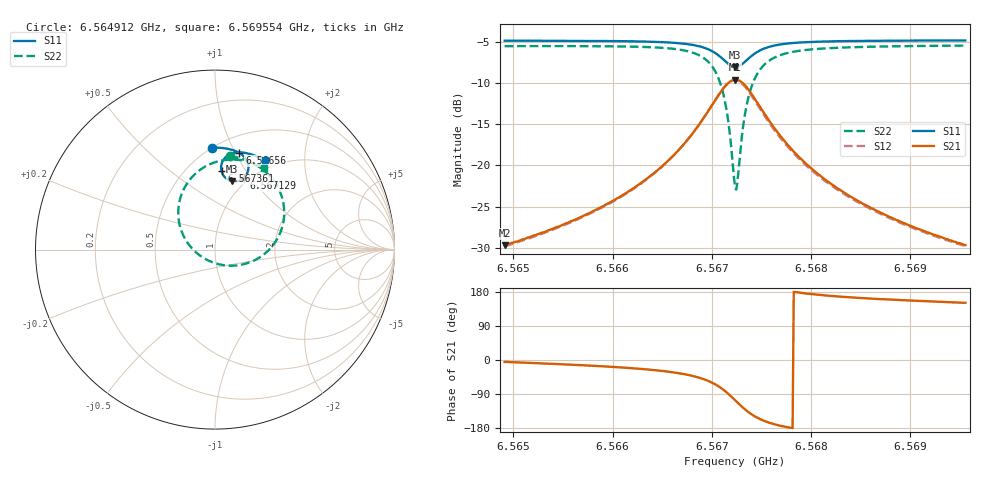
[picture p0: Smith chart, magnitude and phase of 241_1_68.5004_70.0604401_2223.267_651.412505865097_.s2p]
#  HZ  S  RI  R  50.00
! Rohde & Schwarz Vector Network Analyzer
! Rohde-Schwarz,ZNB20-2Port,1311601062101988,3.16
! Created: UTC 3/20/2024, 5:14:33 PM
! freq[Hz]  re:S11  im:S11  re:S21  im:S21  re:S12  im:S12  re:S22  im:S22
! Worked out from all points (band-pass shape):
!   401 points, 6.564912 GHz to 6.569554 GHz, reference 50 ohm
!   highest |S21| = -9.63 dB at 6.567233 GHz (marker M1); lowest = -29.7 dB at 6.564912 GHz (marker M2)
!   |S21| within 3 dB of the highest: 6.567007 GHz to 6.567469 GHz (461.9 kHz wide, 0.00703 % of centre)
!   lowest |S11| = -8.1 dB at 6.567233 GHz (marker M3), VSWR 2.30, Z = 43.8 + j39.6 ohm
!   |S11| at or under -10 dB: nowhere
!   |S22| runs from -23.0 to -5.5 dB; largest |S21 - S12| = 0.017
!   S11 on the Smith chart (normalised r, x): 6.564912 GHz: 0.50, +0.83; 6.56656 GHz: 0.67, +1.04; 6.567129 GHz: 0.94, +0.92; 6.567361 GHz: 0.72, +0.78; 6.569554 GHz: 0.87, +1.29
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6.5649122e9  -0.0194 0.5687  0.0325 -0.00292  0.0322 -0.00337  0.0838 0.5204
6.5656898e9  0.0464 0.5657  0.0474 -0.0117  0.0467 -0.0122  0.164 0.5008
6.5661192e9  0.0869 0.5581  0.0627 -0.0232  0.0618 -0.0239  0.2214 0.4755
6.5664673e9  0.1247 0.5445  0.0838 -0.0445  0.0826 -0.0456  0.2837 0.4316
6.5665602e9  0.1359 0.5382  0.0916 -0.0546  0.0904 -0.0557  0.3043 0.4113
6.5667923e9  0.1668 0.5117  0.1144 -0.1001  0.1127 -0.1024  0.3621 0.3226
6.5669548e9  0.185 0.4724  0.122 -0.1695  0.1186 -0.1733  0.3851 0.1891
6.5670592e9  0.1816 0.4307  0.0976 -0.2423  0.0903 -0.2472  0.3414 0.0504
6.5671288e9  0.1608 0.3995  0.0465 -0.2949  0.0347 -0.2981  0.2449 -0.0457
6.5671636e9  0.1425 0.3874  0.00696 -0.3142  -0.00721 -0.3151  0.1706 -0.0786
6.5672217e9  0.1032 0.3802  -0.0739 -0.3207  -0.0893 -0.3153  0.0233 -0.0822
6.5672333e9  0.095 0.3815  -0.0904 -0.3175  -0.1058 -0.3105  -0.00622 -0.0737
6.5672565e9  0.0791 0.3864  -0.1223 -0.3055  -0.1365 -0.2959  -0.0613 -0.0479
6.5673145e9  0.0482 0.4115  -0.1841 -0.2536  -0.193 -0.2397  -0.1627 0.0529
6.5673609e9  0.0362 0.4374  -0.2099 -0.2025  -0.2138 -0.1882  -0.1992 0.1464
6.5674538e9  0.0386 0.4832  -0.2127 -0.1143  -0.2108 -0.1031  -0.1892 0.3005
6.567593e9  0.0663 0.5209  -0.1755 -0.0413  -0.1716 -0.0352  -0.1093 0.4228
6.5677555e9  0.0989 0.5372  -0.1346 -0.00701  -0.1312 -0.0039  -0.0255 0.4772
6.5680108e9  0.1382 0.542  -0.094 0.0106  -0.0917 0.0121  0.0633 0.5001
6.568359e9  0.1781 0.5371  -0.0647 0.0162  -0.063 0.0169  0.1375 0.4994
6.5687884e9  0.2176 0.5255  -0.0456 0.0171  -0.0446 0.0174  0.198 0.4867
6.5695543e9  0.2772 0.4989  -0.0288 0.0158  -0.0281 0.0162  0.2737 0.4554
